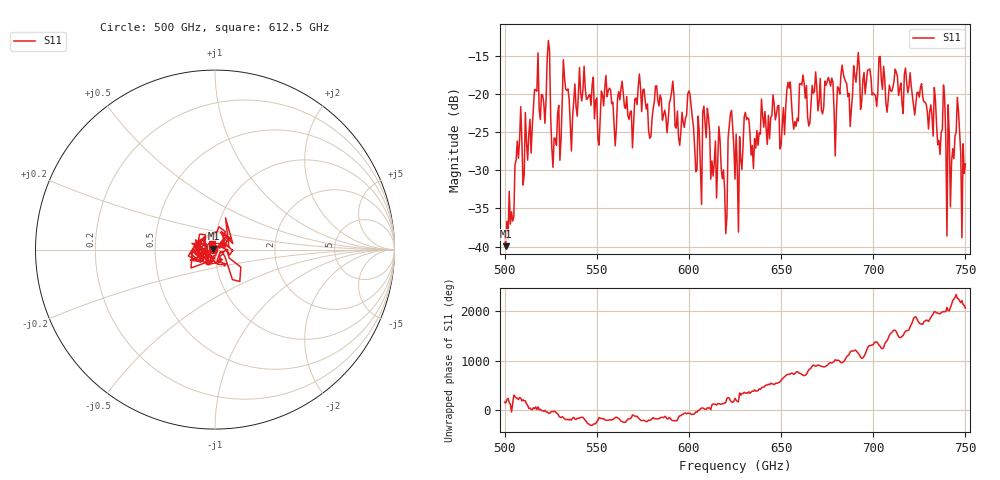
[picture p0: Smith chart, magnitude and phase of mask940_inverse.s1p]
!Created with skrf (http://scikit-rf.org).
# GHz S MA R 50.0
!freq magS11 angS11
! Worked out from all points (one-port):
!   401 points, 500 GHz to 750 GHz, reference 50 ohm
!   lowest |S11| = -40.0 dB at 500.6 GHz (marker M1), VSWR 1.02, Z = 49.1 + j0.475 ohm
!   |S11| at or under -10 dB: start of sweep to end of sweep
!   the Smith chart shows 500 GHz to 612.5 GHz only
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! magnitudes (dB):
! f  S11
! 500 GHz  -38.5
! 500.6 GHz  -40.0
! 507.5 GHz  -28.4
! 511.2 GHz  -22.4
! 516.9 GHz  -19.4
! 523.8 GHz  -13.0
! 526.9 GHz  -25.8
! 531.2 GHz  -21.0
! 562.5 GHz  -20.8
! 579.4 GHz  -25.6
! 590.6 GHz  -19.7
! 593.8 GHz  -22.2
! 600.6 GHz  -20.1
! 605.6 GHz  -25.1
! 609.4 GHz  -25.7
! 619.4 GHz  -32.5
! 622.5 GHz  -22.6
! 625 GHz  -31.2
! 656.2 GHz  -23.3
! 676.2 GHz  -18.3
! 680 GHz  -22.5
! 683.8 GHz  -17.3
! 687.5 GHz  -24.2
! 690.6 GHz  -18.4
! 718.8 GHz  -19.8
! 741.2 GHz  -25.2
! 745.6 GHz  -20.4
! 750 GHz  -29.2
